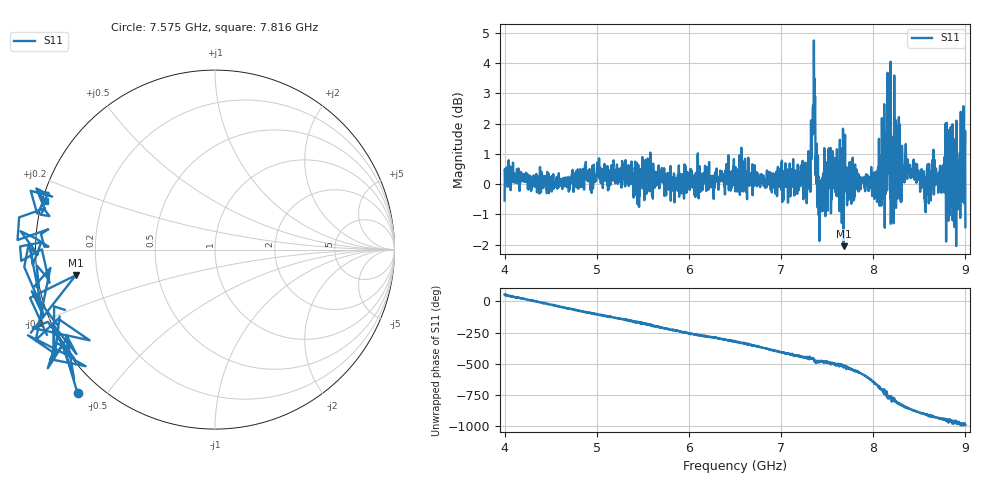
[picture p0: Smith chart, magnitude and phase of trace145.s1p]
! Created with skrf 1.8.0 (http://scikit-rf.org).
# Hz S RI R 50.0
!freq ReS11 ImS11
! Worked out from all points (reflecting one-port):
!   1601 points, 4 GHz to 9 GHz, reference 50 ohm
!   lowest |S11| = -2.1 dB at 7.678 GHz (marker M1), VSWR 8.50, Z = 5.93 - j4.52 ohm
!   phase of S11 starts at 54 deg and turns -1042 deg over the sweep
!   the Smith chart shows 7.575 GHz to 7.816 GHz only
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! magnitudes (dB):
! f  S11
! 4 GHz  -0.5
! 4.028 GHz  0.2
! 4.625 GHz  -0.2
! 5.25 GHz  0.1
! 5.875 GHz  0.2
! 6.5 GHz  0.3
! 7.125 GHz  0.0
! 7.294 GHz  0.2
! 7.347 GHz  2.6
! 7.381 GHz  0.0
! 7.397 GHz  -0.4
! 7.419 GHz  -1.0
! 7.512 GHz  1.2
! 7.609 GHz  0.2
! 7.678 GHz  -2.1
! 7.75 GHz  0.2
! 8.022 GHz  -0.2
! 8.128 GHz  0.8
! 8.162 GHz  0.6
! 8.216 GHz  1.5
! 8.253 GHz  1.2
! 8.312 GHz  1.3
! 8.375 GHz  0.8
! 8.556 GHz  -0.5
! 8.659 GHz  -0.3
! 8.875 GHz  0.6
! 8.972 GHz  0.7
! 9 GHz  -1.4
